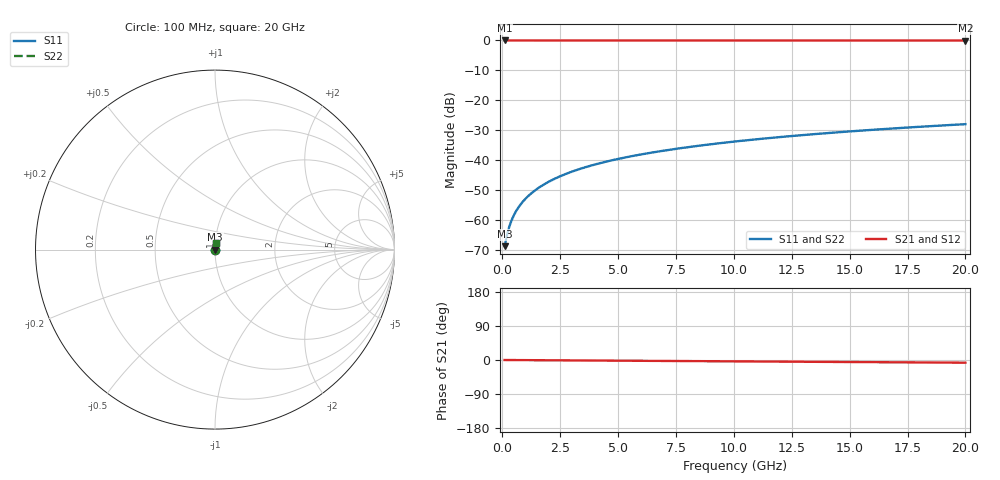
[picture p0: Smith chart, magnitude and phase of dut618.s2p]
! Touchstone file exported from HFSS 2026.1.0
!  File:  C:/ffzhzh/LocalFiles/Ansys_Project_Files/temp_train_TSV_618_1783025839_46388.aedt
!  Generated:  04:59:31 AM Jul  3, 2026
!  Design:  TSV
!  Project:  temp_train_TSV_618_1783025839_46388
! Variables:
!  h_bsmrdl = 2um
!  h_ox = 20um
!  h_rdl = 5um
!  h_sub = 65.98um
!  h_tmrdl = 5um
!  h_tsv = 65.98um
!  h_via = 3um
!  l_bsmrdl = 300um
!  l_sub = 411.12um
!  l_tmrdl = 200um
!  m_sub = 200um
!  pitch = 35.2um
!  r_tsv = 5.56um
!  s_tmrdl = 10um
!  w_bsmrdl = 18um
!  w_sub = 500um
!  w_tmrdl = 12um
!  x_tsv_center1 = 206um
!  x_tsv_center2 = 524um
!  x_tsv_center3 = 736um
!  x_tsv_center4 = 1054um
!  x_tsv_center5 = 1266um
!  x_tsv_center6 = 1584um
# GHz S MA R 50.000000
! Terminal data exported
! Port[1] = TSV1_1_T1
! Port[2] = TSV1_1_T2
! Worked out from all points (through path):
!   200 points, 100 MHz to 20 GHz, reference 50 ohm
!   highest |S21| = 0.00 dB at 100 MHz (marker M1); lowest = 0.0 dB at 20 GHz (marker M2)
!   lowest |S11| = -68.7 dB at 100 MHz (marker M3), VSWR 1.00, Z = 50 + j0.024 ohm
!   |S11| at or under -10 dB: start of sweep to end of sweep
!   |S22| runs from -68.7 to -27.9 dB; largest |S21 - S12| = 3.8e-15
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0.1  0.000369 40.6  0.9997 -0.0  0.9997 -0.0  0.000369 40.6
! Gamma 0 0 0 0
! Port Impedance 50 0 50 0
0.2  0.0005594 58.7  0.9997 -0.1  0.9997 -0.1  0.0005594 58.7
0.3  0.0007743 66.7  0.9997 -0.1  0.9997 -0.1  0.0007743 66.7
0.4  0.0009936 70.9  0.9997 -0.1  0.9997 -0.1  0.0009936 70.9
0.5  0.001212 73.5  0.9997 -0.2  0.9997 -0.2  0.001212 73.5
0.7  0.001643 76.5  0.9996 -0.3  0.9996 -0.3  0.001643 76.5
0.8  0.001856 77.5  0.9996 -0.3  0.9996 -0.3  0.001856 77.5
1  0.002279 79.0  0.9996 -0.4  0.9996 -0.4  0.002279 79.0
1.2  0.0027 80.1  0.9995 -0.4  0.9995 -0.4  0.0027 80.1
1.4  0.00312 80.9  0.9995 -0.5  0.9995 -0.5  0.00312 80.9
1.7  0.003749 81.7  0.9995 -0.6  0.9995 -0.6  0.003749 81.7
2  0.004376 82.3  0.9995 -0.7  0.9995 -0.7  0.004376 82.3
2.7  0.005834 83.1  0.9994 -1.0  0.9994 -1.0  0.005834 83.1
3.5  0.007484 83.5  0.9993 -1.3  0.9993 -1.3  0.007484 83.5
4.2  0.008913 83.6  0.9992 -1.5  0.9992 -1.5  0.008913 83.6
5  0.01053 83.6  0.9991 -1.8  0.9991 -1.8  0.01053 83.6
6.8  0.01414 83.5  0.9989 -2.4  0.9989 -2.4  0.01414 83.5
8.3  0.01712 83.4  0.9988 -3.0  0.9988 -3.0  0.01712 83.4
10.1  0.02069 83.1  0.9986 -3.6  0.9986 -3.6  0.02069 83.1
13.4  0.02719 82.3  0.9983 -4.8  0.9983 -4.8  0.02719 82.3
16.7  0.03366 81.5  0.9979 -5.9  0.9979 -5.9  0.03366 81.5
20  0.04008 80.5  0.9975 -7.1  0.9975 -7.1  0.04008 80.5
